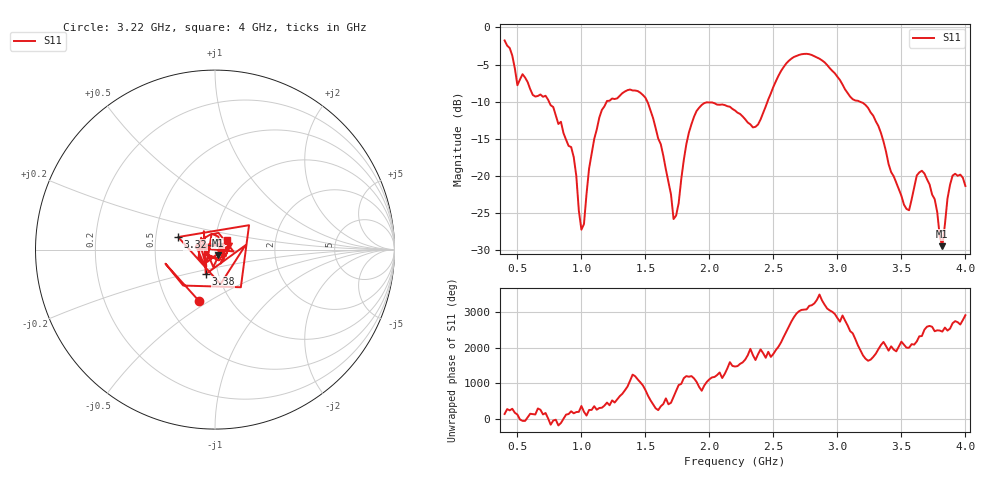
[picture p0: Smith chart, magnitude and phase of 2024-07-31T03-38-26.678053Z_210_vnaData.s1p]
!Created with skrf (http://scikit-rf.org).
# Hz S RI R 50.0
!freq ReS11 ImS11
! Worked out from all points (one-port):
!   181 points, 400 MHz to 4 GHz, reference 50 ohm
!   lowest |S11| = -29.5 dB at 3.82 GHz (marker M1), VSWR 1.07, Z = 51.6 - j3.02 ohm
!   |S11| at or under -10 dB: 747 MHz to 1.197 GHz (450.2 MHz wide, 46.3 % of centre); 1.515 GHz to 2.454 GHz (938.2 MHz wide, 47.3 % of centre); 3.176 GHz to end of sweep
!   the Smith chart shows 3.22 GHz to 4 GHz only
!   S11 on the Smith chart (normalised r, x): 3.22 GHz: 0.72, -0.45; 3.32 GHz: 0.65, +0.10; 3.38 GHz: 0.87, -0.24; 4 GHz: 1.13, +0.13
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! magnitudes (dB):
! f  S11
! 400 MHz  -1.7
! 500 MHz  -7.8
! 720 MHz  -9.2
! 860 MHz  -14.2
! 940 MHz  -17.5
! 1 GHz  -27.2
! 1.14 GHz  -12.1
! 1.3 GHz  -9.2
! 1.5 GHz  -9.5
! 1.62 GHz  -15.7
! 1.72 GHz  -25.8
! 1.76 GHz  -23.7
! 1.82 GHz  -15.7
! 1.9 GHz  -11.2
! 2.2 GHz  -11.2
! 2.36 GHz  -13.4
! 2.66 GHz  -4.0
! 2.88 GHz  -4.4
! 3.1 GHz  -9.3
! 3.22 GHz  -10.4
! 3.32 GHz  -13.3
! 3.38 GHz  -16.7
! 3.56 GHz  -24.6
! 3.62 GHz  -19.9
! 3.68 GHz  -19.7
! 3.82 GHz  -29.5
! 3.9 GHz  -20.0
! 4 GHz  -21.4
